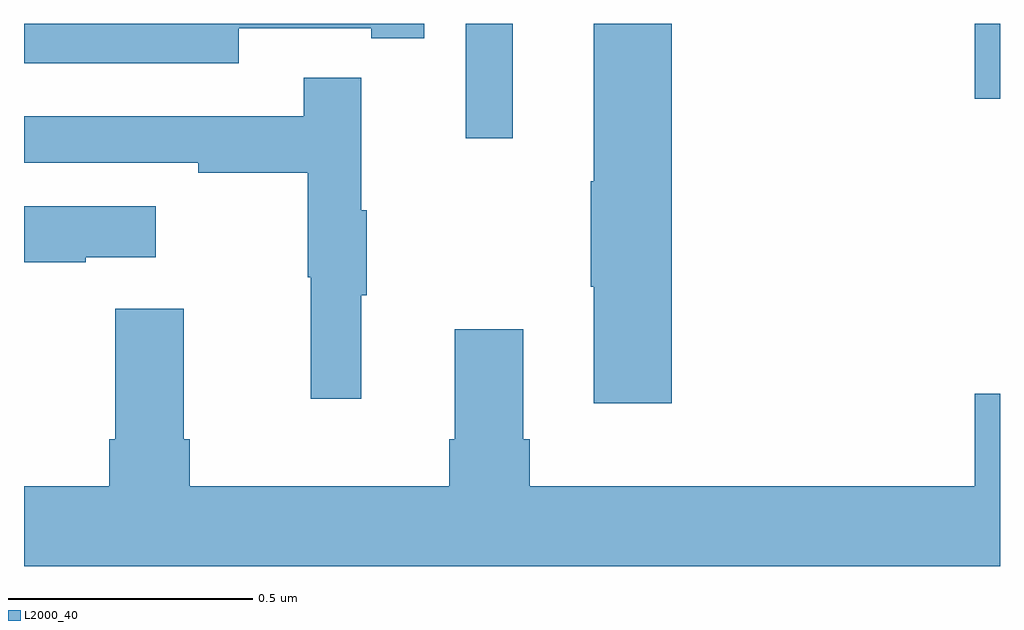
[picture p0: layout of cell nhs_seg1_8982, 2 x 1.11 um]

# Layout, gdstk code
import gdstk
lib = gdstk.Library(unit=1e-6, precision=1e-09)
def R(c, l, rs):  # rectangles x0, y0, x1, y1
    for r in rs: c.add(gdstk.rectangle(r[:2], r[2:], *l))
def P(c, l, *ps):  # polygons
    for p in ps: c.add(gdstk.Polygon(p, *l))
L2000_40 = (2000, 40)

nhs_seg1_8982 = lib.new_cell('nhs_seg1_8982')
R(nhs_seg1_8982, L2000_40, [(223.905,529.965,224.002,530.199), (224.948,530.046,225,530.199)])
P(nhs_seg1_8982, L2000_40, [(223.44,530.19),(223.712,530.19),(223.712,530.17),(223.82,530.17),(223.82,530.199),(223,530.199),(223,530.118),(223.44,530.118)],
  [(224.327,530.199),(224.168,530.199),(224.168,529.877),(224.161,529.877),(224.161,529.66),(224.168,529.66),(224.168,529.422),(224.327,529.422)],
  [(223.691,529.643),(223.702,529.643),(223.702,529.817),(223.691,529.817),(223.691,530.089),(223.573,530.089),(223.573,530.01),(223,530.01),(223,529.914),(223.357,529.914),(223.357,529.894),(223.581,529.894),(223.581,529.68),(223.588,529.68),(223.588,529.431),(223.691,529.431)],
  [(223.127,529.721),(223.27,529.721),(223.27,529.825),(223,529.825),(223,529.711),(223.127,529.711)],
  [(225,529.441),(224.948,529.441),(224.948,529.252),(224.036,529.252),(224.036,529.348),(224.023,529.348),(224.023,529.573),(223.883,529.573),(223.883,529.348),(223.871,529.348),(223.871,529.252),(223.34,529.252),(223.34,529.348),(223.327,529.348),(223.327,529.615),(223.187,529.615),(223.187,529.348),(223.175,529.348),(223.175,529.252),(223,529.252),(223,529.088),(225,529.088)])

lib.write_gds('nhs_seg1_8982.gds')
